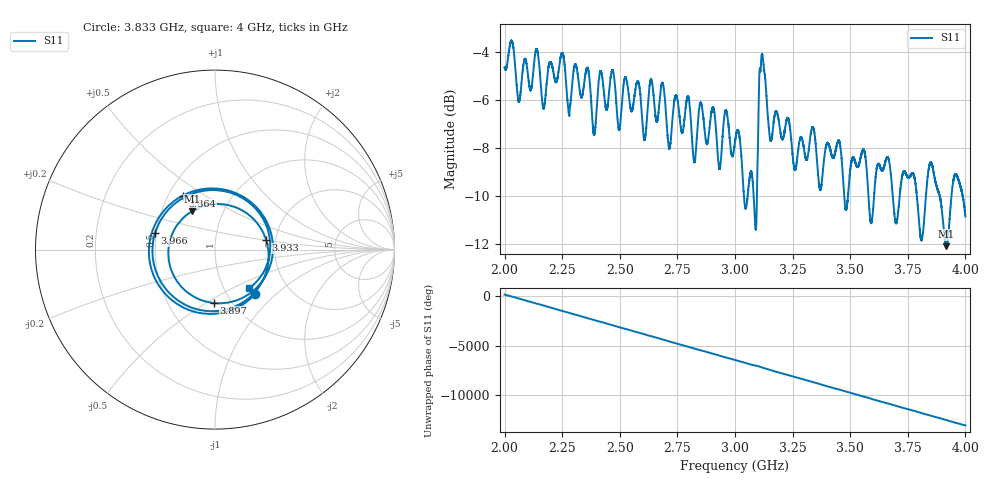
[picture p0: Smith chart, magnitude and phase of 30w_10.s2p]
!Agilent Technologies,E8362B,MY43021131,A.07.50.67
!Agilent E8362B: A.07.50.67
!Date: Thursday, March 14, 2024 15:05:08
!Correction: S11(Off)
!S21(Off)
!S12(Off)
!S22(Off)
!S2P File: Measurements: S11, S21, S12, S22:
# Hz S  RI  R 50
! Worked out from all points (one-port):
!   20001 points, 2 GHz to 4 GHz, reference 50 ohm
!   lowest |S11| = -12.1 dB at 3.918 GHz (marker M1), VSWR 1.66, Z = 35.6 + j16.1 ohm
!   |S11| at or under -10 dB: 3.685 GHz to 3.715 GHz (29.76 MHz wide, 0.804 % of centre); 3.79 GHz to 3.829 GHz (39.07 MHz wide, 1.03 % of centre); 3.889 GHz to 3.939 GHz (50.47 MHz wide, 1.29 % of centre) (the widest 3 of 10)
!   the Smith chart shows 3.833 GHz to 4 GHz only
!   S11 on the Smith chart (normalised r, x): 3.833 GHz: 1.34, -0.74; 3.864 GHz: 0.59, +0.41; 3.897 GHz: 0.83, -0.54; 3.933 GHz: 1.78, +0.21; 3.966 GHz: 0.49, +0.10; 4 GHz: 1.31, -0.61
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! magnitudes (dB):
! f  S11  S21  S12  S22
! 2 GHz  -4.6  -  -  -
! 2.333 GHz  -5.9  -  -  -
! 2.667 GHz  -6.6  -  -  -
! 3 GHz  -7.7  -  -  -
! 3.087 GHz  -11.1  -  -  -
! 3.116 GHz  -4.1  -  -  -
! 3.155 GHz  -7.7  -  -  -
! 3.333 GHz  -7.2  -  -  -
! 3.37 GHz  -9.7  -  -  -
! 3.451 GHz  -7.7  -  -  -
! 3.482 GHz  -10.6  -  -  -
! 3.558 GHz  -8.1  -  -  -
! 3.591 GHz  -11.1  -  -  -
! 3.667 GHz  -8.5  -  -  -
! 3.699 GHz  -11.1  -  -  -
! 3.833 GHz  -9.5  -  -  -
! 3.864 GHz  -9.1  -  -  -
! 3.897 GHz  -10.5  -  -  -
! 3.918 GHz  -12.1  -  -  -
! 3.933 GHz  -10.7  -  -  -
! 3.966 GHz  -9.2  -  -  -
! 4 GHz  -10.8  -  -  -
